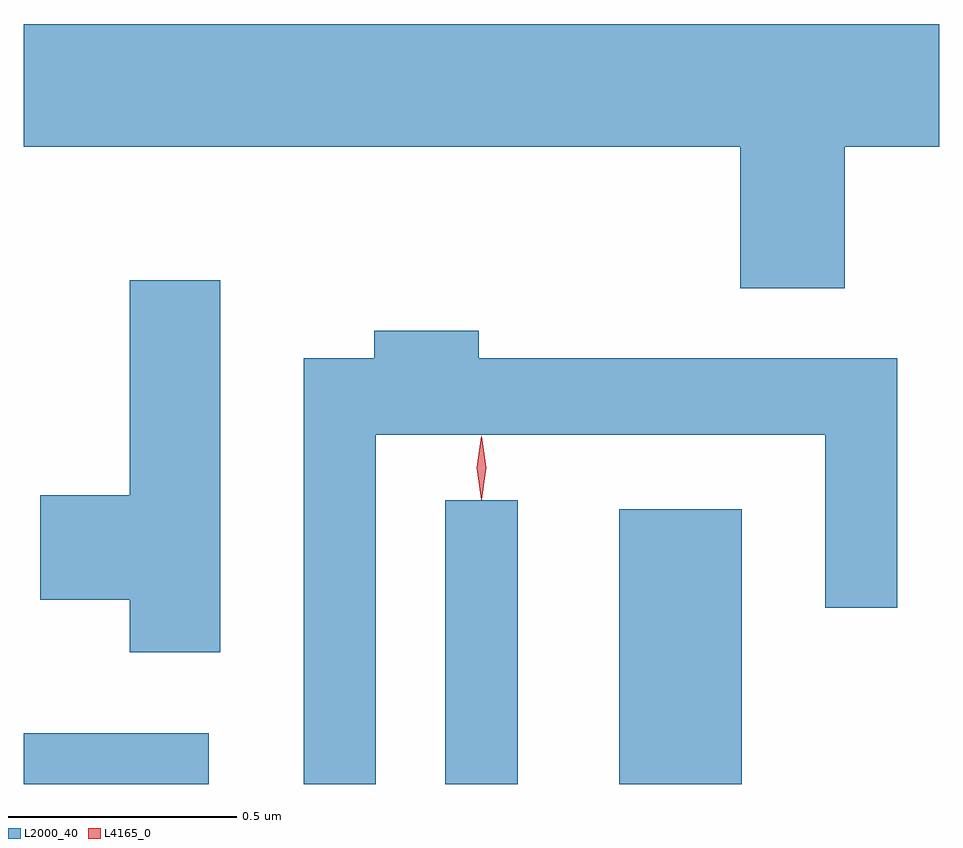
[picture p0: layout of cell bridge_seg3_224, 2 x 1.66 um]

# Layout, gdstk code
import gdstk
lib = gdstk.Library(unit=1e-6, precision=1e-09)
def R(c, l, rs):  # rectangles x0, y0, x1, y1
    for r in rs: c.add(gdstk.rectangle(r[:2], r[2:], *l))
def P(c, l, *ps):  # polygons
    for p in ps: c.add(gdstk.Polygon(p, *l))
L2000_40 = (2000, 40)
L4165_0 = (4165, 0)

bridge_seg3_224 = lib.new_cell('bridge_seg3_224')
R(bridge_seg3_224, L2000_40, [(922.505,1151.263,922.909,1151.374), (923.426,1151.263,923.584,1151.883), (923.806,1151.263,924.074,1151.864)])
P(bridge_seg3_224, L2000_40, [(924.299,1152.656),(924.505,1152.656),(924.505,1152.924),(922.505,1152.924),(922.505,1152.656),(924.071,1152.656),(924.071,1152.346),(924.299,1152.346)],
  [(922.934,1152.364),(922.736,1152.364),(922.736,1151.894),(922.541,1151.894),(922.541,1151.666),(922.736,1151.666),(922.736,1151.551),(922.934,1151.551)],
  [(923.274,1152.026),(924.256,1152.026),(924.256,1151.648),(924.414,1151.648),(924.414,1152.194),(923.499,1152.194),(923.499,1152.254),(923.271,1152.254),(923.271,1152.194),(923.116,1152.194),(923.116,1151.263),(923.274,1151.263)])
P(bridge_seg3_224, L4165_0, [(923.504,1151.884),(923.495,1151.954),(923.504,1152.023),(923.505,1152.023),(923.505,1152.023),(923.515,1151.954),(923.505,1151.884),(923.505,1151.884)],
  [(923.505,1151.887),(923.504,1151.888),(923.495,1151.954),(923.504,1152.02),(923.505,1152.021),(923.505,1152.02),(923.515,1151.954),(923.505,1151.888)])

lib.write_gds('bridge_seg3_224.gds')
